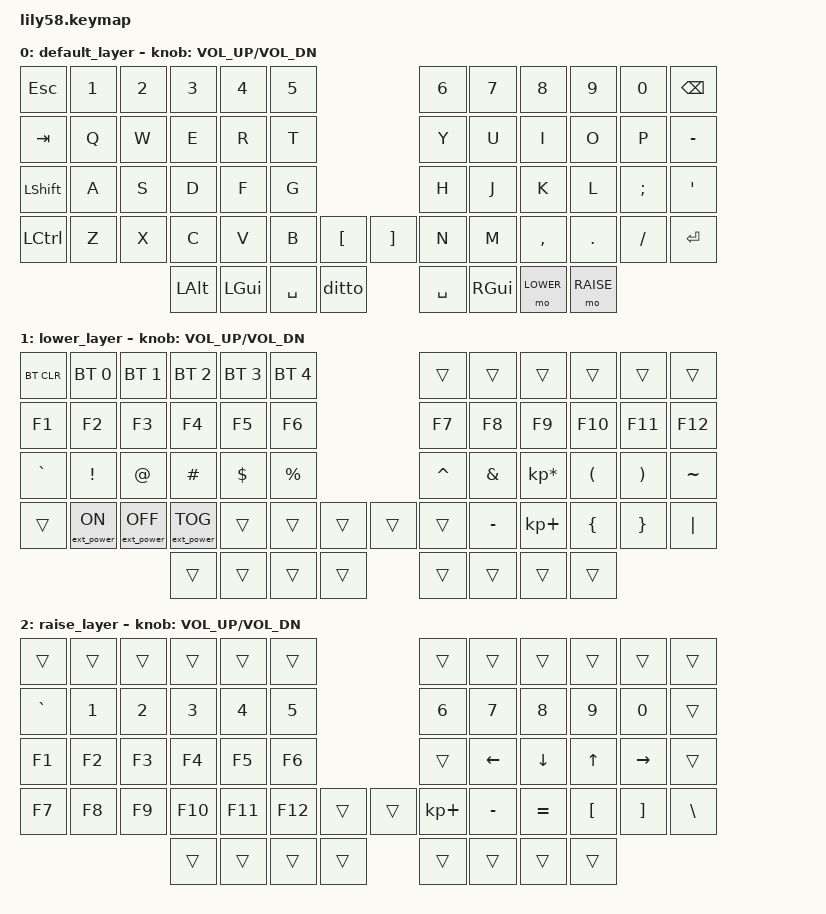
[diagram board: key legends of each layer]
/*
 * Copyright (c) 2020 The ZMK Contributors
 *
 * SPDX-License-Identifier: MIT
 */

#include <behaviors.dtsi>
#include <dt-bindings/zmk/keys.h>
#include <dt-bindings/zmk/bt.h>
#include <dt-bindings/zmk/ext_power.h>

#define DEFAULT 0
#define LOWER 1
#define RAISE 2

#define COMBO(name, keypress, keypos) \
combo_##name {                        \
	timeout-ms = <30>;                \
	bindings = <keypress>;            \
	key-positions = <keypos>;         \
};

/ {
    combos {
        compatible = "zmk,combos";
		COMBO(mtx, &mtx, 46 18 41)
    };
};

#define MACRO(name, keys)             \
name: name##_macro {                  \
	label = #name;                    \
	compatible = "zmk,behavior-macro";\
	#binding-cells = <0>;             \
	tap-ms = <40>;                    \
	wait-ms = <40>;                   \
	bindings = <keys>;                \
};

/ {
    macros {
		MACRO(ditto, &kp LC(GRAVE))
		MACRO(mtx, &kp LS(E) &kp Z &kp E &kp Q &kp U &kp I &kp E &kp L &kp DOT &kp N1)
    };
};

/ {
	keymap {
		compatible = "zmk,keymap";

		default_layer {
// ------------------------------------------------------------------------------------------------------------
// |  ESC  |  1  |  2  |  3   |  4   |  5   |                   |  6   |  7    |  8    |  9   |   0   | BSPC  |
// |  TAB  |  Q  |  W  |  E   |  R   |  T   |                   |  Y   |  U    |  I    |  O   |   P   |   -   |
// |  SHFT |  A  |  S  |  D   |  F   |  G   |                   |  H   |  J    |  K    |  L   |   ;   |   '   |
// |  CTRL |  Z  |  X  |  C   |  V   |  B   |   "["  |  |  "]"  |  N   |  M    |  ,    |  .   |   /   | ENTER |
//                     | ALT  | GUI  | SPACE|  DITTO |  | SPACE | GUI  | LOWER | RAISE |
			bindings = <
&kp ESC   &kp N1 &kp N2 &kp N3   &kp N4   &kp N5                     &kp N6 &kp N7   &kp N8    &kp N9  &kp N0   &kp BSPC
&kp TAB   &kp Q  &kp W  &kp E    &kp R    &kp T                      &kp Y  &kp U    &kp I     &kp O   &kp P    &kp MINUS
&kp LSHFT &kp A  &kp S  &kp D    &kp F    &kp G                      &kp H  &kp J    &kp K     &kp L   &kp SEMI &kp SQT
&kp LCTRL &kp Z  &kp X  &kp C    &kp V    &kp B  &kp LBKT   &kp RBKT &kp N  &kp M    &kp COMMA &kp DOT &kp FSLH &kp RET
                        &kp LALT &kp LGUI &kp SPACE  &ditto  &kp SPACE  &kp RGUI  &mo LOWER &mo RAISE
			>;

			sensor-bindings = <&inc_dec_kp C_VOL_UP C_VOL_DN>;
		};

		lower_layer {
// ------------------------------------------------------------------------------------------------------------
// | BTCLR | BT1 | BT2 |  BT3 |  BT4 |  BT5 |                   |      |       |       |      |       |       |
// |  F1   |  F2 |  F3 |  F4  |  F5  |  F6  |                   |  F7  |  F8   |  F9   |  F10 |  F11  |  F12  |
// |   `   |  !  |  @  |  #   |  $   |  %   |                   |  ^   |  &    |  *    |  (   |   )   |   ~   |
// |       |     |     |      |      |      |        |  |       |      |  _    |  +    |  {   |   }   |  "|"  |
//                     |      |      |      |        |  |       |      |       |       |
			bindings = <
&bt BT_CLR &bt BT_SEL 0     &bt BT_SEL 1      &bt BT_SEL 2      &bt BT_SEL 3 &bt BT_SEL 4                 &trans    &trans    &trans          &trans    &trans    &trans
&kp F1     &kp F2           &kp F3            &kp F4            &kp F5       &kp F6                       &kp F7    &kp F8    &kp F9          &kp F10   &kp F11   &kp F12
&kp GRAVE  &kp EXCL         &kp AT            &kp HASH          &kp DOLLAR   &kp PRCNT                    &kp CARET &kp AMPS  &kp KP_MULTIPLY &kp LPAR  &kp RPAR  &kp TILDE
&trans     &ext_power EP_ON &ext_power EP_OFF &ext_power EP_TOG &trans       &trans    &trans   &trans    &trans    &kp MINUS &kp KP_PLUS     &kp LBRC  &kp RBRC  &kp PIPE
                                              &trans            &trans       &trans    &trans   &trans    &trans    &trans    &trans
			>;

			sensor-bindings = <&inc_dec_kp C_VOL_UP C_VOL_DN>;
		};

		raise_layer {
// ------------------------------------------------------------------------------------------------------------
// |       |     |     |      |      |      |                   |      |       |       |      |       |       |
// |   `   |  1  |  2  |  3   |  4   |  5   |                   |  6   |   7   |   8   |  9   |   0   |       |
// |   F1  |  F2 |  F3 |  F4  |  F5  |  F6  |                   |      |   <-  |   v   |  ^   |  ->   |       |
// |   F7  |  F8 |  F9 |  F10 |  F11 |  F12 |        |  |       |  +   |   -   |   =   |  [   |   ]   |   \   |
//                     |      |      |      |        |  |       |      |       |       |
			bindings = <
&trans    &trans &trans &trans  &trans  &trans                       &trans      &trans    &trans    &trans   &trans    &trans
&kp GRAVE &kp N1 &kp N2 &kp N3  &kp N4  &kp N5                       &kp N6      &kp N7    &kp N8    &kp N9   &kp N0    &trans
&kp F1    &kp F2 &kp F3 &kp F4  &kp F5  &kp F6                       &trans      &kp LEFT  &kp DOWN  &kp UP   &kp RIGHT &trans
&kp F7    &kp F8 &kp F9 &kp F10 &kp F11 &kp F12   &trans   &trans    &kp KP_PLUS &kp MINUS &kp EQUAL &kp LBKT &kp RBKT  &kp BSLH
                        &trans  &trans  &trans    &trans   &trans    &trans      &trans    &trans
			>;

			sensor-bindings = <&inc_dec_kp C_VOL_UP C_VOL_DN>;
		};
	};
};
